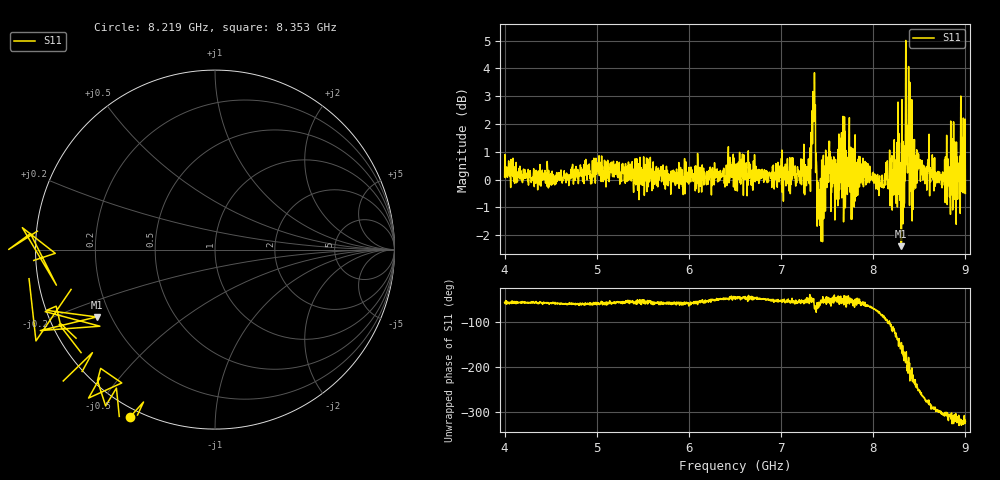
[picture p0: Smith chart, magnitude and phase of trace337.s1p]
! Created with skrf 1.8.0 (http://scikit-rf.org).
# Hz S RI R 50.0
!freq ReS11 ImS11
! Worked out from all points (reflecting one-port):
!   1601 points, 4 GHz to 9 GHz, reference 50 ohm
!   lowest |S11| = -2.4 dB at 8.3 GHz (marker M1), VSWR 7.29, Z = 7.33 - j13 ohm
!   phase of S11 starts at -57 deg and turns -265 deg over the sweep
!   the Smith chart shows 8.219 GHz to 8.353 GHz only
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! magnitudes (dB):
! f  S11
! 4 GHz  0.1
! 4.625 GHz  -0.1
! 5.25 GHz  -0.2
! 5.875 GHz  0.0
! 6.5 GHz  0.2
! 7.125 GHz  0.3
! 7.294 GHz  0.1
! 7.347 GHz  3.2
! 7.362 GHz  3.8
! 7.412 GHz  -1.4
! 7.509 GHz  -0.1
! 7.6 GHz  -0.7
! 7.669 GHz  1.3
! 7.75 GHz  -0.5
! 7.769 GHz  -0.8
! 7.862 GHz  -0.1
! 8.084 GHz  -0.2
! 8.3 GHz  -2.4
! 8.322 GHz  -1.6
! 8.334 GHz  0.7
! 8.347 GHz  0.0
! 8.375 GHz  1.7
! 8.412 GHz  0.1
! 8.447 GHz  1.4
! 8.466 GHz  -0.1
! 8.812 GHz  0.7
! 8.972 GHz  0.0
! 9 GHz  -0.5
